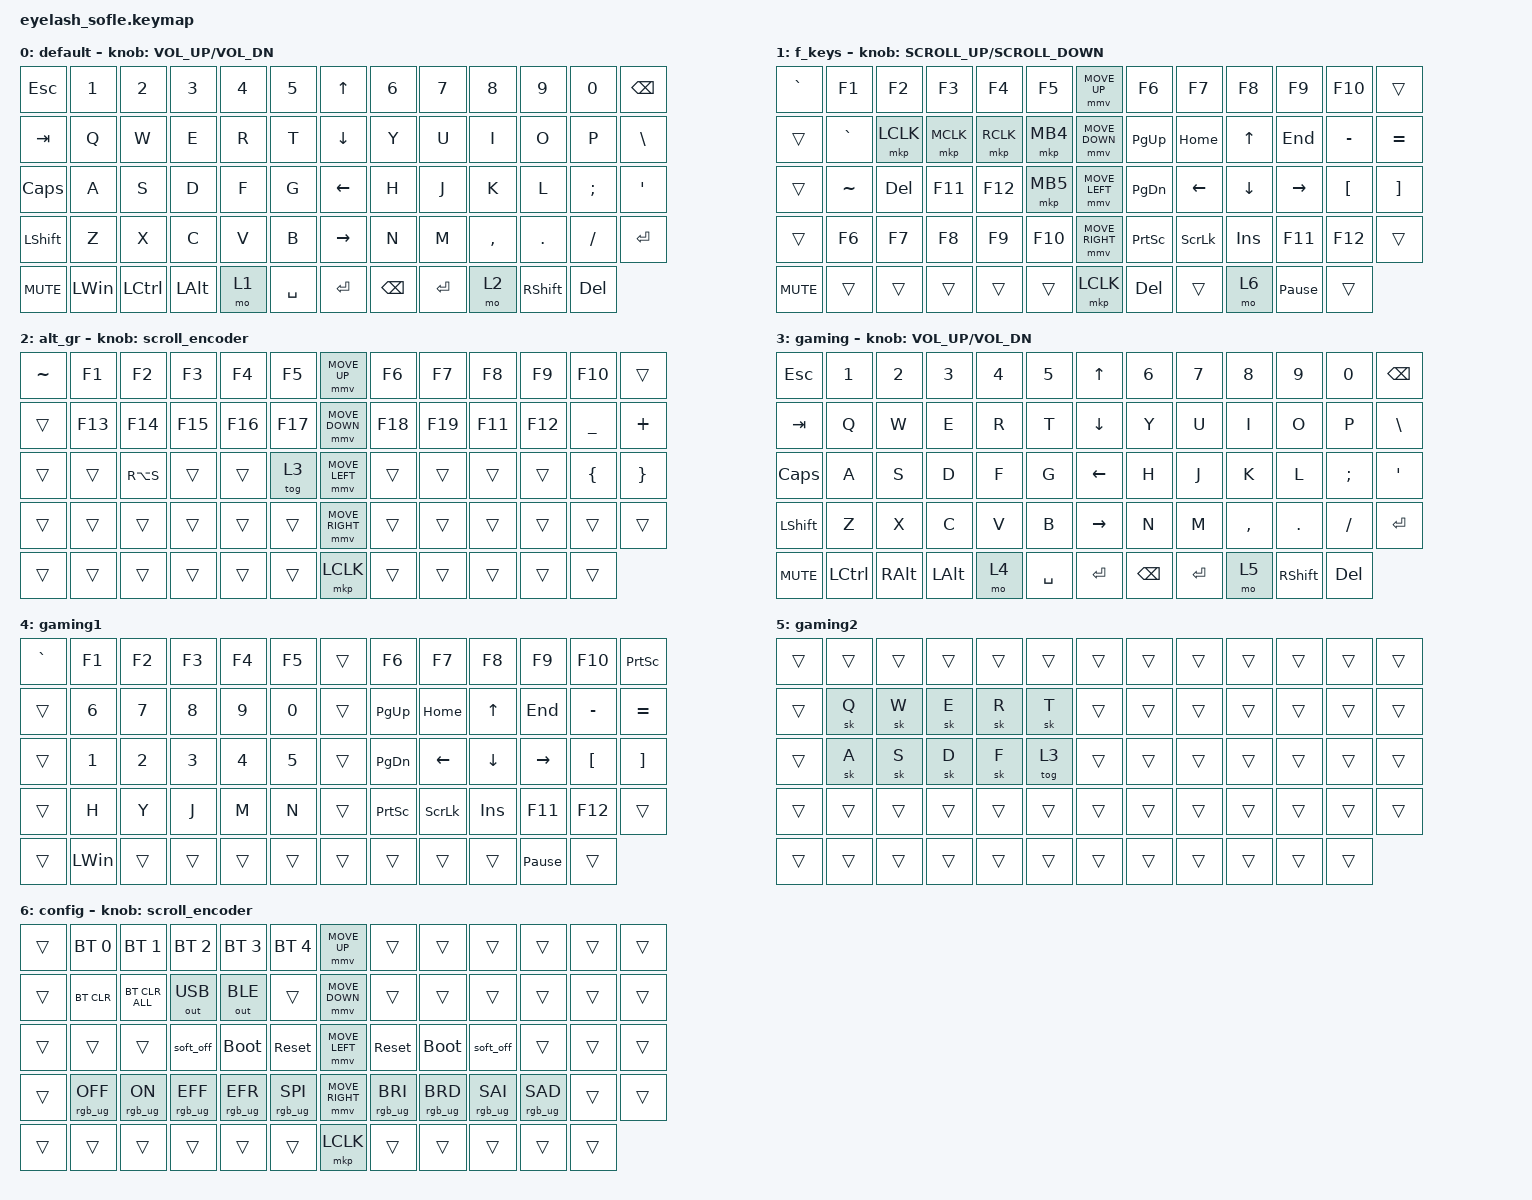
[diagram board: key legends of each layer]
#define ZMK_POINTING_DEFAULT_MOVE_VAL 1200  // 600
#define ZMK_POINTING_DEFAULT_SCRL_VAL 25   // 10

#include <input/processors.dtsi>
#include <zephyr/dt-bindings/input/input-event-codes.h>
#include <behaviors.dtsi>
#include <dt-bindings/zmk/bt.h>
#include <dt-bindings/zmk/keys.h>
#include <dt-bindings/zmk/outputs.h>
#include <dt-bindings/zmk/pointing.h>
#include <dt-bindings/zmk/rgb.h>

&mmv_input_listener { input-processors = <&zip_xy_scaler 2 1>; };

&msc_input_listener { input-processors = <&zip_scroll_scaler 2 1>; };

&msc {
    acceleration-exponent = <1>;      // 0
    time-to-max-speed-ms = <100>;       // 300
    delay-ms = <0>;                   // 0
};

&mmv {
    time-to-max-speed-ms = <500>;
    acceleration-exponent = <1>;
    trigger-period-ms = <16>;
};

/ {
    scroll_encoder: scroll_encoder {
        compatible = "zmk,behavior-sensor-rotate";
        #sensor-binding-cells = <0>;
        bindings = <&msc SCRL_DOWN>, <&msc SCRL_UP>;

        tap-ms = <100>;
    };

    behaviors {
    };

    keymap {
        compatible = "zmk,keymap";

        default {
            bindings = <
&kp ESC     &kp N1        &kp N2            &kp N3        &kp N4  &kp N5       &kp UP_ARROW     &kp N6         &kp N7     &kp N8     &kp N9           &kp N0      &kp BACKSPACE
&kp TAB     &kp Q         &kp W             &kp E         &kp R   &kp T        &kp DOWN_ARROW   &kp Y          &kp U      &kp I      &kp O            &kp P       &kp BSLH
&kp CAPS    &kp A         &kp S             &kp D         &kp F   &kp G        &kp LEFT_ARROW   &kp H          &kp J      &kp K      &kp L            &kp SEMI    &kp APOS
&kp LSHFT   &kp Z         &kp X             &kp C         &kp V   &kp B        &kp RIGHT_ARROW  &kp N          &kp M      &kp COMMA  &kp DOT          &kp FSLH    &kp ENTER
&kp C_MUTE  &kp LEFT_WIN  &kp LEFT_CONTROL  &kp LEFT_ALT  &mo 1   &kp SPACE    &kp ENTER        &kp BACKSPACE  &kp ENTER  &mo 2      &kp RIGHT_SHIFT  &kp DELETE
            >;

            sensor-bindings = <&inc_dec_kp C_VOLUME_UP C_VOL_DN>;
            display-name = "default";
            label = "default";
        };

        f_keys {
            bindings = <
&kp GRAVE   &kp F1     &kp F2     &kp F3     &kp F4     &kp F5      &mmv MOVE_UP     &kp F6           &kp F7          &kp F8      &kp F9           &kp F10           &trans
&trans      &kp GRAVE  &mkp LCLK  &mkp MCLK  &mkp RCLK  &mkp MB4    &mmv MOVE_DOWN   &kp PG_UP        &kp HOME        &kp UP      &kp END          &kp MINUS         &kp EQUAL
&trans      &kp TILDE  &kp DEL    &kp F11    &kp F12    &mkp MB5    &mmv MOVE_LEFT   &kp PG_DN        &kp LEFT        &kp DOWN    &kp RIGHT        &kp LEFT_BRACKET  &kp RIGHT_BRACKET
&trans      &kp F6     &kp F7     &kp F8     &kp F9     &kp F10     &mmv MOVE_RIGHT  &kp PRINTSCREEN  &kp SCROLLLOCK  &kp INSERT  &kp F11          &kp F12           &trans
&kp C_MUTE  &trans     &trans     &trans     &trans     &trans      &mkp LCLK        &kp DELETE       &trans          &mo 6       &kp PAUSE_BREAK  &trans
            >;

            display-name = "f_keys";
            sensor-bindings = <&inc_dec_kp K_SCROLL_UP K_SCROLL_DOWN>;
        };

        alt_gr {
            bindings = <
&kp TILDE  &kp F1   &kp F2     &kp F3   &kp F4   &kp F5     &mmv MOVE_UP     &kp F6   &kp F7   &kp F8   &kp F9   &kp F10    &trans
&trans     &kp F13  &kp F14    &kp F15  &kp F16  &kp F17    &mmv MOVE_DOWN   &kp F18  &kp F19  &kp F11  &kp F12  &kp UNDER  &kp PLUS
&trans     &trans   &kp RA(S)  &trans   &trans   &tog 3     &mmv MOVE_LEFT   &trans   &trans   &trans   &trans   &kp LBRC   &kp RBRC
&trans     &trans   &trans     &trans   &trans   &trans     &mmv MOVE_RIGHT  &trans   &trans   &trans   &trans   &trans     &trans
&trans     &trans   &trans     &trans   &trans   &trans     &mkp LCLK        &trans   &trans   &trans   &trans   &trans
            >;

            sensor-bindings = <&scroll_encoder>;
            label = "alt_gr";
        };

        gaming {
            bindings = <
&kp ESC     &kp N1     &kp N2    &kp N3    &kp N4  &kp N5       &kp UP     &kp N6         &kp N7     &kp N8     &kp N9           &kp N0      &kp BSPC
&kp TAB     &kp Q      &kp W     &kp E     &kp R   &kp T        &kp DOWN   &kp Y          &kp U      &kp I      &kp O            &kp P       &kp BSLH
&kp CAPS    &kp A      &kp S     &kp D     &kp F   &kp G        &kp LEFT   &kp H          &kp J      &kp K      &kp L            &kp SEMI    &kp APOS
&kp LSHFT   &kp Z      &kp X     &kp C     &kp V   &kp B        &kp RIGHT  &kp N          &kp M      &kp COMMA  &kp DOT          &kp FSLH    &kp RET
&kp K_MUTE  &kp LCTRL  &kp RALT  &kp LALT  &mo 4   &kp SPACE    &kp RET    &kp BACKSPACE  &kp ENTER  &mo 5      &kp RIGHT_SHIFT  &kp DELETE
            >;

            label = "gaming";
            sensor-bindings = <&inc_dec_kp C_VOLUME_UP C_VOL_DN>;
        };

        gaming1 {
            bindings = <
&kp GRAVE  &kp F1        &kp F2        &kp F3  &kp F4        &kp F5          &trans  &kp F6         &kp F7    &kp F8    &kp F9           &kp F10           &kp PSCRN
&trans     &kp NUMBER_6  &kp N7        &kp N8  &kp N9        &kp N0          &trans  &kp PAGE_UP    &kp HOME  &kp UP    &kp END          &kp MINUS         &kp EQUAL
&trans     &kp NUMBER_1  &kp NUMBER_2  &kp N3  &kp NUMBER_4  &kp NUMBER_5    &trans  &kp PAGE_DOWN  &kp LEFT  &kp DOWN  &kp RIGHT        &kp LEFT_BRACKET  &kp RIGHT_BRACKET
&trans     &kp H         &kp Y         &kp J   &kp M         &kp N           &trans  &kp PSCRN      &kp SLCK  &kp INS   &kp F11          &kp F12           &trans
&trans     &kp LEFT_WIN  &trans        &trans  &trans        &trans          &trans  &trans         &trans    &trans    &kp PAUSE_BREAK  &trans
            >;

            label = "gaming1";
        };

        gaming2 {
            bindings = <
&trans  &trans  &trans  &trans  &trans  &trans    &trans  &trans  &trans  &trans  &trans  &trans  &trans
&trans  &sk Q   &sk W   &sk E   &sk R   &sk T     &trans  &trans  &trans  &trans  &trans  &trans  &trans
&trans  &sk A   &sk S   &sk D   &sk F   &tog 3    &trans  &trans  &trans  &trans  &trans  &trans  &trans
&trans  &trans  &trans  &trans  &trans  &trans    &trans  &trans  &trans  &trans  &trans  &trans  &trans
&trans  &trans  &trans  &trans  &trans  &trans    &trans  &trans  &trans  &trans  &trans  &trans
            >;

            label = "gaming2";
        };

        config {
            bindings = <
&trans  &bt BT_SEL 0     &bt BT_SEL 1    &bt BT_SEL 2     &bt BT_SEL 3     &bt BT_SEL 4       &mmv MOVE_UP     &trans           &trans           &trans           &trans           &trans  &trans
&trans  &bt BT_CLR       &bt BT_CLR_ALL  &out OUT_USB     &out OUT_BLE     &trans             &mmv MOVE_DOWN   &trans           &trans           &trans           &trans           &trans  &trans
&trans  &trans           &trans          &soft_off        &bootloader      &sys_reset         &mmv MOVE_LEFT   &sys_reset       &bootloader      &soft_off        &trans           &trans  &trans
&trans  &rgb_ug RGB_OFF  &rgb_ug RGB_ON  &rgb_ug RGB_EFF  &rgb_ug RGB_EFR  &rgb_ug RGB_SPI    &mmv MOVE_RIGHT  &rgb_ug RGB_BRI  &rgb_ug RGB_BRD  &rgb_ug RGB_SAI  &rgb_ug RGB_SAD  &trans  &trans
&trans  &trans           &trans          &trans           &trans           &trans             &mkp LCLK        &trans           &trans           &trans           &trans           &trans
            >;

            sensor-bindings = <&scroll_encoder>;
            label = "config";
        };
    };
};
